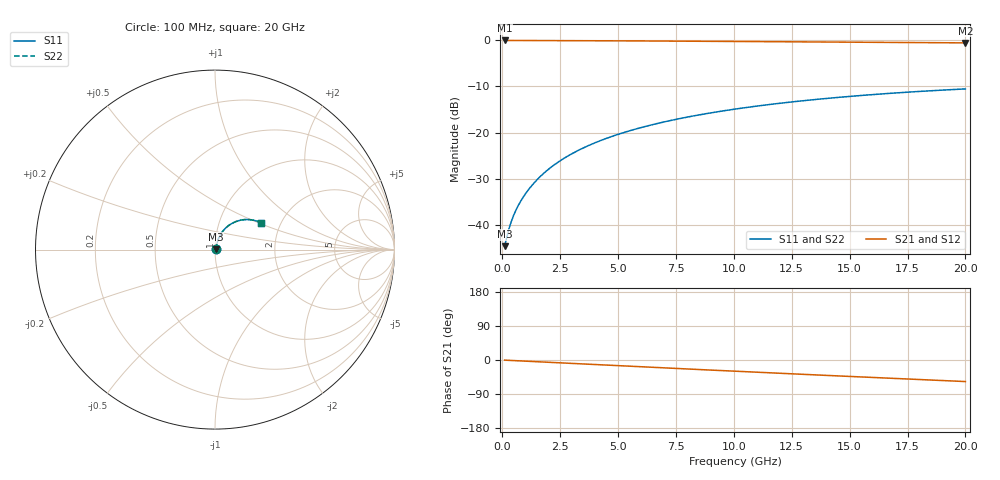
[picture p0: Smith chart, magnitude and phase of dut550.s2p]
! Touchstone file exported from HFSS 2026.1.0
!  File:  C:/ffzhzh/LocalFiles/Ansys_Project_Files/temp_train_TMRDL_550_1783007636_55676.aedt
!  Generated:  11:55:21 PM Jul  2, 2026
!  Design:  TMRDL
!  Project:  temp_train_TMRDL_550_1783007636_55676
! Variables:
!  h_bsmrdl = 2um
!  h_ox = 20um
!  h_rdl = 5um
!  h_sub = 80um
!  h_tmrdl = 2.94um
!  h_tsv = 80um
!  h_via = 3um
!  l_bsmrdl = 300um
!  l_sub = 1362.28um
!  l_tmrdl = 962.28um
!  m_sub = 200um
!  pitch = 34.61um
!  r_tsv = 6um
!  s_tmrdl = 10um
!  w_bsmrdl = 18um
!  w_sub = 500um
!  w_tmrdl = 22.82um
!  x_tsv_center1 = 973.69um
!  x_tsv_center2 = 1291.69um
!  x_tsv_center3 = 2276.79um
!  x_tsv_center4 = 2594.79um
!  x_tsv_center5 = 3579.89um
!  x_tsv_center6 = 3897.89um
# GHz S MA R 50.000000
! Terminal data exported
! Port[1] = TM_RDL1_1_T1
! Port[2] = TM_RDL1_1_T2
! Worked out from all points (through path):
!   200 points, 100 MHz to 20 GHz, reference 50 ohm
!   highest |S21| = -0.05 dB at 100 MHz (marker M1); lowest = -0.6 dB at 20 GHz (marker M2)
!   group delay of S21, straight-line fit = 7.89 ps
!   lowest |S11| = -44.6 dB at 100 MHz (marker M3), VSWR 1.01, Z = 50.5 + j0.25 ohm
!   |S11| at or under -10 dB: start of sweep to end of sweep
!   |S22| runs from -44.6 to -10.5 dB; largest |S21 - S12| = 3.4e-15
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0.1  0.005874 25.0  0.9947 -0.3  0.9947 -0.3  0.005874 25.0
! Gamma 0 0 0 0
! Port Impedance 50 0 50 0
0.3  0.009257 48.5  0.994 -1.0  0.994 -1.0  0.009257 48.5
0.4  0.01107 53.7  0.9936 -1.3  0.9936 -1.3  0.01107 53.7
0.5  0.01285 57.3  0.9933 -1.6  0.9933 -1.6  0.01285 57.3
0.6  0.01461 60.0  0.993 -1.9  0.993 -1.9  0.01461 60.0
0.8  0.01813 64.1  0.9927 -2.5  0.9927 -2.5  0.01813 64.1
1  0.02169 67.0  0.9924 -3.1  0.9924 -3.1  0.02169 67.0
1.2  0.0253 68.9  0.9922 -3.7  0.9922 -3.7  0.0253 69.0
1.4  0.02896 70.4  0.9919 -4.3  0.9919 -4.3  0.02896 70.4
1.7  0.03451 71.7  0.9916 -5.2  0.9916 -5.2  0.03451 71.7
2.2  0.04384 72.7  0.991 -6.6  0.991 -6.6  0.04384 72.7
2.8  0.05508 72.8  0.9901 -8.4  0.9901 -8.4  0.05508 72.8
3.5  0.06813 72.0  0.9889 -10.5  0.9889 -10.5  0.06813 72.1
4.2  0.08105 70.8  0.9874 -12.6  0.9874 -12.6  0.08104 70.8
5  0.09558 69.1  0.9856 -15.0  0.9856 -15.0  0.09557 69.1
5.9  0.1116 67.0  0.9832 -17.6  0.9832 -17.6  0.1116 67.0
6.8  0.1272 64.7  0.9806 -20.2  0.9806 -20.2  0.1271 64.7
8.3  0.1521 60.7  0.9759 -24.6  0.9759 -24.6  0.1521 60.8
10.1  0.1803 55.9  0.9698 -29.7  0.9698 -29.7  0.1802 56.0
13.4  0.2265 47.1  0.9581 -39.0  0.9581 -39.0  0.2265 47.2
16.7  0.2655 38.4  0.9468 -48.0  0.9468 -48.0  0.2654 38.5
20  0.297 29.9  0.9366 -56.9  0.9366 -56.9  0.2969 30.0
